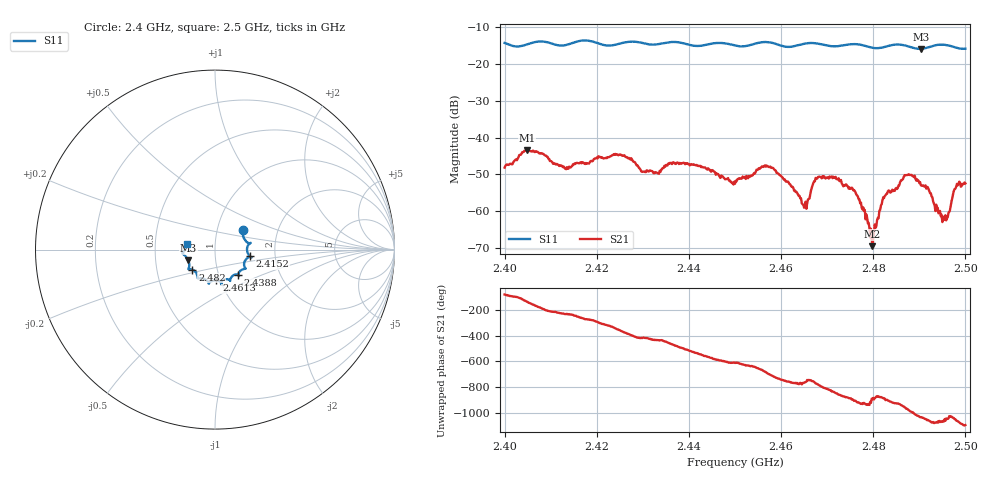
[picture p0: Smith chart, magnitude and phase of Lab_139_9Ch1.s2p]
# Hz S RI R 50
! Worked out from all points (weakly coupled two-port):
!   601 points, 2.4 GHz to 2.5 GHz, reference 50 ohm
!   highest |S21| = -43.45 dB at 2.4048 GHz (marker M1); lowest = -69.5 dB at 2.4798 GHz (marker M2)
!   lowest |S11| = -15.9 dB at 2.4903 GHz (marker M3), VSWR 1.38, Z = 36.8 - j4.47 ohm
!   |S11| at or under -10 dB: start of sweep to end of sweep
!   S12 and S22 are empty: the file has one direction only
!   S11 on the Smith chart (normalised r, x): 2.4 GHz: 1.33, +0.31; 2.4152 GHz: 1.48, -0.11; 2.4388 GHz: 1.24, -0.36; 2.4613 GHz: 0.96, -0.34; 2.482 GHz: 0.76, -0.17; 2.5 GHz: 0.72, +0.05
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2.4e9  0.1579 0.1119  0.000873 -0.00382  0 0  0 0
2.404833e9  0.1802 0.0397  -0.00459 -0.00491  0 0  0 0
2.415167e9  0.1939 -0.0374  -0.0021 0.00393  0 0  0 0
2.416667e9  0.2035 -0.0439  -0.000865 0.0044  0 0  0 0
2.4245e9  0.1626 -0.0908  0.0058 0.00102  0 0  0 0
2.433333e9  0.1322 -0.1316  0.000878 -0.00315  0 0  0 0
2.438833e9  0.1297 -0.1405  -0.0034 -0.00304  0 0  0 0
2.45e9  0.0688 -0.1651  -0.000715 0.00225  0 0  0 0
2.456667e9  0.0379 -0.1957  0.00325 0.0024  0 0  0 0
2.461333e9  0.00771 -0.1709  0.002 -0.00156  0 0  0 0
2.465e9  -0.0333 -0.1856  0.000765 -0.000816  0 0  0 0
2.466667e9  -0.0349 -0.1901  0.00174 -0.00117  0 0  0 0
2.471e9  -0.0541 -0.1662  -0.00129 -0.00268  0 0  0 0
2.475667e9  -0.0948 -0.1609  -0.00192 3.35e-05  0 0  0 0
2.479833e9  -0.1051 -0.1292  -0.000335 -2.46e-05  0 0  0 0
2.482e9  -0.1256 -0.1116  -0.00135 -0.000377  0 0  0 0
2.483333e9  -0.1393 -0.1089  -0.0019 0.000237  0 0  0 0
2.487333e9  -0.1448 -0.0996  -0.00102 0.00293  0 0  0 0
2.490333e9  -0.1494 -0.0592  0.00162 0.00156  0 0  0 0
2.4955e9  -0.1817 -0.0187  0.000667 0.000372  0 0  0 0
2.498e9  -0.1668 -0.000392  0.00205 0.000672  0 0  0 0
2.5e9  -0.1587 0.0325  0.00227 -0.000745  0 0  0 0
